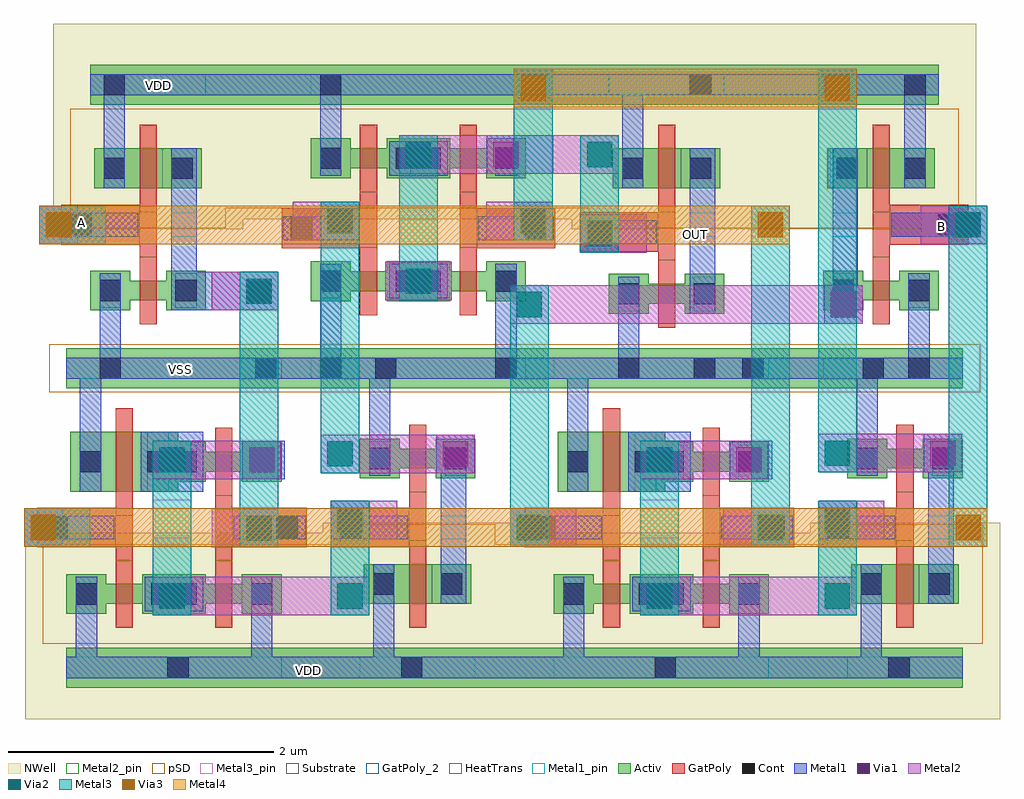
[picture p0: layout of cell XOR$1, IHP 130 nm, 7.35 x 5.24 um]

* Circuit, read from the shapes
.subckt XOR$1 A B OUT VDD VSS
XM1 n1 B VSS VSS sg13_lv_nmos w=0.45u l=0.13u
XM2 XOR_routed$1_0/XOR_placement$1_0/AND$2_3/VA A VSS VSS sg13_lv_nmos w=0.15u l=0.13u
XM3 XOR_routed$1_0/XOR_placement$1_0/AND$2_3/VOUT XOR_routed$1_0/XOR_placement$1_0/AND$2_3/VA n1 VSS sg13_lv_nmos w=0.15u l=0.13u
XM4 XOR_routed$1_0/XOR_placement$1_0/OR$2_0/VIN XOR_routed$1_0/XOR_placement$1_0/OR$2_0/VA VSS VSS sg13_lv_nmos w=0.15u l=0.13u
XM5 XOR_routed$1_0/XOR_placement$1_0/OR$2_0/VA XOR_routed$1_0/XOR_placement$1_0/AND$2_3/VOUT VSS VSS sg13_lv_nmos w=0.15u l=0.13u
XM6 VSS XOR_routed$1_0/XOR_placement$1_0/OR$2_0/VB XOR_routed$1_0/XOR_placement$1_0/OR$2_0/VIN VSS sg13_lv_nmos w=0.15u l=0.13u
XM7 n2 XOR_routed$1_0/XOR_placement$1_0/AND$2_4/VB VSS VSS sg13_lv_nmos w=0.45u l=0.13u
XM8 OUT XOR_routed$1_0/XOR_placement$1_0/OR$2_0/VIN VSS VSS sg13_lv_nmos w=0.15u l=0.13u
XM9 XOR_routed$1_0/XOR_placement$1_0/AND$2_4/VOUT A n2 VSS sg13_lv_nmos w=0.15u l=0.13u
XM10 VSS B XOR_routed$1_0/XOR_placement$1_0/AND$2_4/VB VSS sg13_lv_nmos w=0.15u l=0.13u
XM11 XOR_routed$1_0/XOR_placement$1_0/OR$2_0/VB XOR_routed$1_0/XOR_placement$1_0/AND$2_4/VOUT VSS VSS sg13_lv_nmos w=0.15u l=0.13u
XM12 XOR_routed$1_0/XOR_placement$1_0/AND$2_3/VOUT B VDD VDD sg13_lv_pmos w=0.15u l=0.13u
XM13 XOR_routed$1_0/XOR_placement$1_0/AND$2_3/VA A VDD VDD sg13_lv_pmos w=0.3u l=0.13u
XM14 VDD XOR_routed$1_0/XOR_placement$1_0/AND$2_3/VA XOR_routed$1_0/XOR_placement$1_0/AND$2_3/VOUT VDD sg13_lv_pmos w=0.15u l=0.13u
XM15 n3 XOR_routed$1_0/XOR_placement$1_0/OR$2_0/VA VDD VDD sg13_lv_pmos w=0.15u l=0.13u
XM16 XOR_routed$1_0/XOR_placement$1_0/OR$2_0/VA XOR_routed$1_0/XOR_placement$1_0/AND$2_3/VOUT VDD VDD sg13_lv_pmos w=0.3u l=0.13u
XM17 XOR_routed$1_0/XOR_placement$1_0/OR$2_0/VIN XOR_routed$1_0/XOR_placement$1_0/OR$2_0/VB n3 VDD sg13_lv_pmos w=0.15u l=0.13u
XM18 XOR_routed$1_0/XOR_placement$1_0/AND$2_4/VOUT XOR_routed$1_0/XOR_placement$1_0/AND$2_4/VB VDD VDD sg13_lv_pmos w=0.15u l=0.13u
XM19 OUT XOR_routed$1_0/XOR_placement$1_0/OR$2_0/VIN VDD VDD sg13_lv_pmos w=0.3u l=0.13u
XM20 VDD A XOR_routed$1_0/XOR_placement$1_0/AND$2_4/VOUT VDD sg13_lv_pmos w=0.15u l=0.13u
XM21 VDD B XOR_routed$1_0/XOR_placement$1_0/AND$2_4/VB VDD sg13_lv_pmos w=0.3u l=0.13u
XM22 XOR_routed$1_0/XOR_placement$1_0/OR$2_0/VB XOR_routed$1_0/XOR_placement$1_0/AND$2_4/VOUT VDD VDD sg13_lv_pmos w=0.3u l=0.13u
.ends

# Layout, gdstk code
from math import pi, radians
import gdstk
lib = gdstk.Library(unit=1e-6, precision=5e-09)
def R(c, l, rs):  # rectangles x0, y0, x1, y1
    for r in rs: c.add(gdstk.rectangle(r[:2], r[2:], *l))
Activ = (1, 0)
GatPoly = (5, 0)
GatPoly_2 = (5, 2)
Cont = (6, 0)
Metal1 = (8, 0)
Metal1_pin = (8, 2)
Metal2 = (10, 0)
Metal2_pin = (10, 2)
pSD = (14, 0)
Via1 = (19, 0)
Via2 = (29, 0)
Metal3 = (30, 0)
Metal3_pin = (30, 2)
NWell = (31, 0)
Substrate = (40, 0)
Via3 = (49, 0)
Metal4 = (50, 0)
HeatTrans = (51, 0)

via2_constraint_2_1 = lib.new_cell('Via2_constraint$2$1')
R(via2_constraint_2_1, Metal2, [(0,-0.055,0.29,0.235)])
R(via2_constraint_2_1, Via2, [(0.05,-0.005,0.24,0.185)])
R(via2_constraint_2_1, Metal3, [(0,-0.055,0.29,0.235)])

via1_constraint_2_5 = lib.new_cell('Via1_constraint$2$5')
R(via1_constraint_2_5, Metal1, [(0,-0.055,0.29,0.235)])
R(via1_constraint_2_5, Metal2, [(0,-0.055,0.29,0.235)])
R(via1_constraint_2_5, Via1, [(0.05,-0.005,0.24,0.185)])

via1_constraint_1_4 = lib.new_cell('Via1_constraint$1$4')
R(via1_constraint_1_4, Metal1, [(0,0,0.29,0.29)])
R(via1_constraint_1_4, Metal2, [(0,0,0.29,0.29)])
R(via1_constraint_1_4, Via1, [(0.05,0.05,0.24,0.24)])

via2_constraint_1_4 = lib.new_cell('Via2_constraint$1$4')
R(via2_constraint_1_4, Metal2, [(0,0,0.29,0.29)])
R(via2_constraint_1_4, Via2, [(0.05,0.05,0.24,0.24)])
R(via2_constraint_1_4, Metal3, [(0,0,0.29,0.29)])

nmos_9 = lib.new_cell('nmos$9')
R(nmos_9, Activ, [(0,0,0.3,0.3), (0.57,0,0.87,0.3), (0,0.075,0.87,0.225)])
R(nmos_9, GatPoly, [(0.37,-0.105,0.5,0.405)])
R(nmos_9, GatPoly_2, [(0.37,-0.105,0.5,0.405)])
R(nmos_9, Cont, [(0.07,0.07,0.23,0.23), (0.64,0.07,0.8,0.23)])
R(nmos_9, Metal1, [(0.07,0.02,0.23,0.28), (0.64,0.02,0.8,0.28)])
R(nmos_9, Metal1_pin, [(0.07,0.02,0.23,0.28), (0.64,0.02,0.8,0.28)])
R(nmos_9, HeatTrans, [(0.37,-0.105,0.5,0.405)])
nmos_9.add(gdstk.Label('nmos', (0.435,0.15), layer=63, texttype=0))
nmos_9.add(gdstk.Label('nmos', (0.435,0.15), layer=51, texttype=0))

pmos_25 = lib.new_cell('pmos$25')
R(pmos_25, Activ, [(0,0,0.3,0.3), (0.57,0,0.87,0.3), (0,0.075,0.87,0.225)])
R(pmos_25, GatPoly, [(0.37,-0.105,0.5,0.405), (0.37,-0.105,0.5,0.405)])
R(pmos_25, Cont, [(0.07,0.07,0.23,0.23), (0.64,0.07,0.8,0.23)])
R(pmos_25, Metal1, [(0.07,0.02,0.23,0.28), (0.07,0.02,0.23,0.28), (0.64,0.02,0.8,0.28), (0.64,0.02,0.8,0.28)])
R(pmos_25, pSD, [(-0.18,-0.225,1.05,0.525)])
R(pmos_25, NWell, [(-0.345,-0.31,1.18,0.61)])
R(pmos_25, Substrate, [(0.57,0,0.87,0.3)])
R(pmos_25, HeatTrans, [(0.37,-0.105,0.5,0.405)])
pmos_25.add(gdstk.Label('pmos', (0.435,0.15), layer=63, texttype=0))
pmos_25.add(gdstk.Label('pmos', (0.435,0.15), layer=51, texttype=0))

nor_2 = lib.new_cell('NOR$2')
R(nor_2, Activ, [(0.31,-0.065,1.93,0.235), (0.31,2.07,1.93,2.37)])
R(nor_2, GatPoly, [(0.09,0.99,0.68,1.29), (1.56,0.99,2.15,1.29), (0.68,0.995,0.81,1.41), (1.43,0.995,1.56,1.41)])
R(nor_2, GatPoly_2, [(0.09,0.99,0.68,1.29), (1.56,0.99,2.15,1.29)])
R(nor_2, Cont, [(0.38,0.005,0.54,0.165), (1.7,0.005,1.86,0.165), (0.95,0.66,1.29,0.82), (0.16,1.06,0.32,1.22), (1.92,1.06,2.08,1.22), (0.95,1.585,1.29,1.745), (1.7,2.14,1.86,2.3)])
R(nor_2, Metal1, [(0.31,0.005,1.93,0.165), (0.9,0.61,1.34,0.87), (0.1,1.05,0.67,1.23), (1.57,1.05,2.14,1.23), (0.9,1.535,1.34,1.795), (0.105,1.55,0.315,1.84), (0.31,2.14,1.93,2.3)])
R(nor_2, Metal1_pin, [(0.31,0.005,1.93,0.165), (0.1,1.05,0.67,1.23), (1.57,1.05,2.14,1.23), (0.31,2.14,1.93,2.3)])
R(nor_2, Metal2, [(0.87,0.595,1.37,0.885)])
R(nor_2, Metal2_pin, [(0.315,1.55,0.605,1.84)])
R(nor_2, pSD, [(0.18,-0.095,2.06,0.265)])
R(nor_2, NWell, [(-0.035,2.125,2.24,2.68)])
nor_2.add(gdstk.FlexPath([(0.46,0.61),(0.46,0.26),(0.46,0.165)], 0.16, ends="flush", simple_path=True, layer=8, datatype=0))  # Metal1
nor_2.add(gdstk.FlexPath([(1.78,0.61),(1.78,0.165)], 0.16, ends="flush", simple_path=True, layer=8, datatype=0))  # Metal1
nor_2.add(gdstk.FlexPath([(1.78,1.795),(1.78,2.14)], 0.16, ends="flush", simple_path=True, layer=8, datatype=0))  # Metal1
nor_2.add(gdstk.FlexPath([(0.605,1.695),(0.975,1.695)], 0.29, ends="flush", simple_path=True, layer=10, datatype=0))  # Metal2
nor_2.add(gdstk.FlexPath([(1.12,0.885),(1.12,1.55)], 0.29, ends="flush", simple_path=True, layer=30, datatype=0))  # Metal3
nor_2.add(gdstk.Reference(via1_constraint_1_4, (0.975,0.595)))
nor_2.add(gdstk.Reference(via2_constraint_1_4, (0.975,0.595)))
nor_2.add(gdstk.Reference(via2_constraint_1_4, (0.975,1.55)))
nor_2.add(gdstk.Reference(via1_constraint_1_4, (0.315,1.55)))
nor_2.add(gdstk.Reference(nmos_9, (1.06,0.59)))
nor_2.add(gdstk.Reference(nmos_9, (0.31,0.59)))
nor_2.add(gdstk.Reference(pmos_25, (1.06,1.515)))
nor_2.add(gdstk.Reference(pmos_25, (0.31,1.515)))
nor_2.add(gdstk.Label('VB', (0.205,1.14), layer=8, texttype=25))
nor_2.add(gdstk.Label('VA', (1.99,1.125), layer=8, texttype=25))
nor_2.add(gdstk.Label('VSS', (0.6,0.055), layer=8, texttype=25))
nor_2.add(gdstk.Label('VDD', (0.605,2.215), layer=8, texttype=25))
nor_2.add(gdstk.Label('VOUT', (0.38,1.605), layer=10, texttype=25))

nmos_1_13 = lib.new_cell('nmos$1$13')
R(nmos_1_13, Activ, [(0,-0.025,0.3,0.275), (0.57,-0.025,0.87,0.275), (0,0.05,0.87,0.2)])
R(nmos_1_13, GatPoly, [(0.37,-0.13,0.5,0.38)])
R(nmos_1_13, GatPoly_2, [(0.37,-0.13,0.5,0.38)])
R(nmos_1_13, Cont, [(0.07,0.045,0.23,0.205), (0.64,0.045,0.8,0.205)])
R(nmos_1_13, Metal1, [(0.07,-0.005,0.23,0.255), (0.64,-0.005,0.8,0.255)])
R(nmos_1_13, Metal1_pin, [(0.07,-0.005,0.23,0.255), (0.64,-0.005,0.8,0.255)])
R(nmos_1_13, HeatTrans, [(0.37,-0.13,0.5,0.38)])
nmos_1_13.add(gdstk.Label('nmos', (0.435,0.125), layer=63, texttype=0))
nmos_1_13.add(gdstk.Label('nmos', (0.435,0.125), layer=51, texttype=0))

pmos_1_18 = lib.new_cell('pmos$1$18')
R(pmos_1_18, Activ, [(0,0,0.81,0.3), (0,0,0.3,0.3), (0.51,0,0.81,0.3)])
R(pmos_1_18, GatPoly, [(0.34,-0.18,0.47,0.48), (0.34,-0.18,0.47,0.48)])
R(pmos_1_18, Cont, [(0.07,0.07,0.23,0.23), (0.58,0.07,0.74,0.23)])
R(pmos_1_18, Metal1, [(0.07,0,0.23,0.3), (0.07,0,0.23,0.3), (0.58,0,0.74,0.3), (0.58,0,0.74,0.3)])
R(pmos_1_18, pSD, [(-0.18,-0.3,0.99,0.6)])
R(pmos_1_18, NWell, [(-0.31,-0.31,1.12,0.61)])
R(pmos_1_18, Substrate, [(0.51,0,0.81,0.3)])
R(pmos_1_18, HeatTrans, [(0.34,-0.18,0.47,0.48)])
pmos_1_18.add(gdstk.Label('pmos', (0.405,0.15), layer=63, texttype=0))
pmos_1_18.add(gdstk.Label('pmos', (0.405,0.15), layer=51, texttype=0))

inv_d1_18 = lib.new_cell('INV_D1$18')
R(inv_d1_18, Activ, [(0.28,0,1.15,0.3), (0.28,2.135,1.15,2.435)])
R(inv_d1_18, GatPoly, [(0.06,1.025,0.65,1.325), (0.65,1.11,0.78,1.325)])
R(inv_d1_18, GatPoly_2, [(0.06,1.025,0.65,1.325)])
R(inv_d1_18, Cont, [(0.35,0.07,0.51,0.23), (0.92,0.07,1.08,0.23), (0.13,1.095,0.29,1.255), (0.89,2.205,1.05,2.365)])
R(inv_d1_18, Metal1, [(0.28,0.07,1.15,0.23), (0.07,1.085,0.64,1.265), (0.28,2.205,1.15,2.365)])
R(inv_d1_18, Metal1_pin, [(0.28,0.07,1.15,0.23), (0.07,1.085,0.64,1.265), (0.89,1.14,1.08,1.32), (0.28,2.205,1.15,2.365)])
R(inv_d1_18, pSD, [(0.15,-0.03,1.28,0.33)])
R(inv_d1_18, NWell, [(0,2.115,1.43,2.745)])
R(inv_d1_18, Substrate, [(0.82,1.505,1.12,1.805)])
inv_d1_18.add(gdstk.FlexPath([(0.46,1.805),(0.46,2.365)], 0.16, ends="flush", simple_path=True, layer=8, datatype=0))  # Metal1
inv_d1_18.add(gdstk.FlexPath([(0.43,0.84),(0.43,0.23)], 0.16, ends="flush", simple_path=True, layer=8, datatype=0))  # Metal1
inv_d1_18.add(gdstk.FlexPath([(0.985,0.56),(0.985,1.805)], 0.19, ends="flush", simple_path=True, layer=8, datatype=0))  # Metal1
inv_d1_18.add(gdstk.FlexPath([(0.715,1.11),(0.715,0.965)], 0.13, ends="flush", simple_path=True, layer=5, datatype=0))  # GatPoly
inv_d1_18.add(gdstk.Reference(nmos_1_13, (0.28,0.585)))
inv_d1_18.add(gdstk.Reference(pmos_1_18, (0.31,1.505)))
inv_d1_18.add(gdstk.Label('nmos', (0.715,0.63), layer=63, texttype=0))
inv_d1_18.add(gdstk.Label('VDD', (0.655,2.28), layer=8, texttype=25))
inv_d1_18.add(gdstk.Label('VOUT', (1.03,1.165), layer=8, texttype=25))
inv_d1_18.add(gdstk.Label('VSS', (0.65,0.145), layer=8, texttype=25))
inv_d1_18.add(gdstk.Label('VIN', (0.285,1.12), layer=8, texttype=25))

or_2 = lib.new_cell('OR$2')
R(or_2, Activ, [(1.93,0.03,2.555,0.33), (1.93,2.165,2.555,2.465)])
R(or_2, Metal1, [(1.93,0.1,2.555,0.26), (1.93,2.235,2.555,2.395)])
R(or_2, Metal2, [(2.63,1.05,2.84,1.34)])
R(or_2, pSD, [(2.06,0,2.425,0.36), (2.11,1.385,2.405,2.135)])
or_2.add(gdstk.FlexPath([(1.925,1.79),(2.34,1.79)], 0.29, ends="flush", simple_path=True, layer=10, datatype=0))  # Metal2
or_2.add(gdstk.FlexPath([(2.485,1.645),(2.485,1.34)], 0.29, ends="flush", simple_path=True, layer=30, datatype=0))  # Metal3
or_2.add(gdstk.Reference(via2_constraint_2_1, (2.34,1.7)))
or_2.add(gdstk.Reference(via1_constraint_2_5, (2.34,1.105)))
or_2.add(gdstk.Reference(via2_constraint_2_1, (2.34,1.105)))
or_2.add(gdstk.Reference(nor_2, (2.24,0.095), rotation=pi, x_reflection=True))
or_2.add(gdstk.Reference(inv_d1_18, (2.275,0.03)))
or_2.add(gdstk.Label('VDD', (2.86,2.305), layer=8, texttype=25))
or_2.add(gdstk.Label('VSS', (2.855,0.14), layer=8, texttype=25))
or_2.add(gdstk.Label('VOUT', (3.3,1.255), layer=8, texttype=25))
or_2.add(gdstk.Label('VIN', (2.675,1.17), layer=8, texttype=25))
or_2.add(gdstk.Label('VB', (1.82,1.205), layer=8, texttype=25))
or_2.add(gdstk.Label('VA', (0.36,1.21), layer=8, texttype=25))

nmos_4_3 = lib.new_cell('nmos$4$3')
R(nmos_4_3, Activ, [(0,0,0.3,0.3), (0.57,0,0.87,0.3), (0,0.075,0.87,0.225)])
R(nmos_4_3, GatPoly, [(0.37,-0.105,0.5,0.405)])
R(nmos_4_3, GatPoly_2, [(0.37,-0.105,0.5,0.405)])
R(nmos_4_3, Cont, [(0.07,0.07,0.23,0.23), (0.64,0.07,0.8,0.23)])
R(nmos_4_3, Metal1, [(0.07,0.02,0.23,0.28), (0.64,0.02,0.8,0.28)])
R(nmos_4_3, Metal1_pin, [(0.07,0.02,0.23,0.28), (0.64,0.02,0.8,0.28)])
R(nmos_4_3, HeatTrans, [(0.37,-0.105,0.5,0.405)])
nmos_4_3.add(gdstk.Label('nmos', (0.435,0.15), layer=63, texttype=0))
nmos_4_3.add(gdstk.Label('nmos', (0.435,0.15), layer=51, texttype=0))

pmos_1_2_1 = lib.new_cell('pmos$1$2$1')
R(pmos_1_2_1, Activ, [(0,0,0.81,0.3), (0,0,0.3,0.3), (0.51,0,0.81,0.3)])
R(pmos_1_2_1, GatPoly, [(0.34,-0.18,0.47,0.48), (0.34,-0.18,0.47,0.48)])
R(pmos_1_2_1, Cont, [(0.07,0.07,0.23,0.23), (0.58,0.07,0.74,0.23)])
R(pmos_1_2_1, Metal1, [(0.07,0,0.23,0.3), (0.07,0,0.23,0.3), (0.58,0,0.74,0.3), (0.58,0,0.74,0.3)])
R(pmos_1_2_1, pSD, [(-0.18,-0.3,0.99,0.6)])
R(pmos_1_2_1, NWell, [(-0.31,-0.31,1.12,0.61)])
R(pmos_1_2_1, Substrate, [(0.51,0,0.81,0.3)])
R(pmos_1_2_1, HeatTrans, [(0.34,-0.18,0.47,0.48)])
pmos_1_2_1.add(gdstk.Label('pmos', (0.405,0.15), layer=63, texttype=0))
pmos_1_2_1.add(gdstk.Label('pmos', (0.405,0.15), layer=51, texttype=0))

inv_d1_2_1 = lib.new_cell('INV_D1$2$1')
R(inv_d1_2_1, Activ, [(0.28,0,1.15,0.3), (0.28,2.135,1.15,2.435)])
R(inv_d1_2_1, GatPoly, [(0.06,1.08,0.65,1.38), (0.65,1.11,0.78,1.325)])
R(inv_d1_2_1, GatPoly_2, [(0.06,1.08,0.65,1.38)])
R(inv_d1_2_1, Cont, [(0.35,0.07,0.51,0.23), (0.13,1.15,0.29,1.31), (0.38,2.205,0.54,2.365)])
R(inv_d1_2_1, Metal1, [(0.28,0.07,1.15,0.23), (0.07,1.14,0.64,1.32), (0.28,2.205,1.15,2.365)])
R(inv_d1_2_1, Metal1_pin, [(0.28,0.07,1.15,0.23), (0.07,1.14,0.64,1.32), (0.89,1.14,1.08,1.32), (0.28,2.205,1.15,2.365)])
R(inv_d1_2_1, pSD, [(0.15,-0.03,1.28,0.33)])
R(inv_d1_2_1, NWell, [(0,2.115,1.43,2.745)])
R(inv_d1_2_1, Substrate, [(0.82,1.505,1.12,1.805)])
inv_d1_2_1.add(gdstk.FlexPath([(0.985,0.585),(0.985,1.805)], 0.19, ends="flush", simple_path=True, layer=8, datatype=0))  # Metal1
inv_d1_2_1.add(gdstk.FlexPath([(0.46,1.805),(0.46,2.365)], 0.16, ends="flush", simple_path=True, layer=8, datatype=0))  # Metal1
inv_d1_2_1.add(gdstk.FlexPath([(0.43,0.865),(0.43,0.07)], 0.16, ends="flush", simple_path=True, layer=8, datatype=0))  # Metal1
inv_d1_2_1.add(gdstk.FlexPath([(0.715,1.11),(0.715,0.99)], 0.13, ends="flush", simple_path=True, layer=5, datatype=0))  # GatPoly
inv_d1_2_1.add(gdstk.Reference(nmos_4_3, (0.28,0.585)))
inv_d1_2_1.add(gdstk.Reference(pmos_1_2_1, (0.31,1.505)))
inv_d1_2_1.add(gdstk.Label('nmos', (0.715,0.655), layer=63, texttype=0))
inv_d1_2_1.add(gdstk.Label('VDD', (0.655,2.28), layer=8, texttype=25))
inv_d1_2_1.add(gdstk.Label('VOUT', (1.03,1.165), layer=8, texttype=25))
inv_d1_2_1.add(gdstk.Label('VIN', (0.285,1.175), layer=8, texttype=25))
inv_d1_2_1.add(gdstk.Label('VSS', (0.65,0.145), layer=8, texttype=25))

nmos_2_9 = lib.new_cell('nmos$2$9')
R(nmos_2_9, Activ, [(0,0.01,0.3,0.31), (0.57,0.01,0.87,0.31), (0,0.085,0.87,0.235)])
R(nmos_2_9, GatPoly, [(0.37,-0.095,0.5,0.415)])
R(nmos_2_9, GatPoly_2, [(0.37,-0.095,0.5,0.415)])
R(nmos_2_9, Cont, [(0.07,0.08,0.23,0.24), (0.64,0.08,0.8,0.24)])
R(nmos_2_9, Metal1, [(0.07,0.03,0.23,0.29), (0.64,0.03,0.8,0.29)])
R(nmos_2_9, Metal1_pin, [(0.07,0.03,0.23,0.29), (0.64,0.03,0.8,0.29)])
R(nmos_2_9, HeatTrans, [(0.37,-0.095,0.5,0.415)])
nmos_2_9.add(gdstk.Label('nmos', (0.435,0.16), layer=63, texttype=0))
nmos_2_9.add(gdstk.Label('nmos', (0.435,0.16), layer=51, texttype=0))

pmos_2_13 = lib.new_cell('pmos$2$13')
R(pmos_2_13, Activ, [(0,0.01,0.3,0.31), (0.57,0.01,0.87,0.31), (0,0.085,0.87,0.235)])
R(pmos_2_13, GatPoly, [(0.37,-0.095,0.5,0.415), (0.37,-0.095,0.5,0.415)])
R(pmos_2_13, Cont, [(0.07,0.08,0.23,0.24), (0.64,0.08,0.8,0.24)])
R(pmos_2_13, Metal1, [(0.07,0.03,0.23,0.29), (0.07,0.03,0.23,0.29), (0.64,0.03,0.8,0.29), (0.64,0.03,0.8,0.29)])
R(pmos_2_13, pSD, [(-0.18,-0.215,1.05,0.535)])
R(pmos_2_13, NWell, [(-0.31,-0.3,1.18,0.61)])
R(pmos_2_13, Substrate, [(0.57,0.01,0.87,0.31)])
R(pmos_2_13, HeatTrans, [(0.37,-0.095,0.5,0.415)])
pmos_2_13.add(gdstk.Label('pmos', (0.435,0.16), layer=63, texttype=0))
pmos_2_13.add(gdstk.Label('pmos', (0.435,0.16), layer=51, texttype=0))

via1_constraint_1_1_1 = lib.new_cell('Via1_constraint$1$1$1')
R(via1_constraint_1_1_1, Metal1, [(-0.005,0.015,0.285,0.305)])
R(via1_constraint_1_1_1, Metal2, [(-0.005,0.015,0.285,0.305)])
R(via1_constraint_1_1_1, Via1, [(0.045,0.065,0.235,0.255)])

nmos_1_1_3 = lib.new_cell('nmos$1$1$3')
R(nmos_1_1_3, Activ, [(0,0.01,0.81,0.46), (0,0.01,0.3,0.31), (0.51,0.01,0.81,0.31)])
R(nmos_1_1_3, GatPoly, [(0.34,-0.17,0.47,0.64)])
R(nmos_1_1_3, GatPoly_2, [(0.34,-0.17,0.47,0.64)])
R(nmos_1_1_3, Cont, [(0.07,0.155,0.23,0.315), (0.58,0.155,0.74,0.315)])
R(nmos_1_1_3, Metal1, [(0.07,0.01,0.23,0.46), (0.58,0.01,0.74,0.46)])
R(nmos_1_1_3, Metal1_pin, [(0.07,0.01,0.23,0.46), (0.58,0.01,0.74,0.46)])
R(nmos_1_1_3, HeatTrans, [(0.34,-0.17,0.47,0.64)])
nmos_1_1_3.add(gdstk.Label('nmos', (0.405,0.235), layer=63, texttype=0))
nmos_1_1_3.add(gdstk.Label('nmos', (0.405,0.235), layer=51, texttype=0))

via2_constraint_1_1_1 = lib.new_cell('Via2_constraint$1$1$1')
R(via2_constraint_1_1_1, Metal2, [(0,0.01,0.29,0.3)])
R(via2_constraint_1_1_1, Via2, [(0.05,0.06,0.24,0.25)])
R(via2_constraint_1_1_1, Metal3, [(0,0.01,0.29,0.3)])

nand_2 = lib.new_cell('NAND$2')
R(nand_2, Activ, [(0.31,0.04,1.93,0.34), (0.31,2.295,1.93,2.595)])
R(nand_2, GatPoly, [(0.09,1.24,0.68,1.54), (1.56,1.24,2.12,1.54)])
R(nand_2, GatPoly_2, [(0.09,1.24,0.68,1.54), (1.56,1.24,2.12,1.54)])
R(nand_2, Cont, [(1.73,0.11,1.89,0.27), (0.92,0.815,1.29,0.975), (0.16,1.31,0.32,1.47), (1.89,1.31,2.05,1.47), (0.95,1.81,1.29,1.97), (1.07,2.365,1.23,2.525)])
R(nand_2, Metal1, [(0.31,0.11,1.93,0.27), (0.87,0.67,1.34,1.12), (1.925,0.735,1.955,1.025), (0.1,1.3,0.67,1.48), (1.57,1.3,2.11,1.48), (0.9,1.76,1.34,2.02), (0.31,2.365,1.93,2.525)])
R(nand_2, Metal1_pin, [(0.31,0.11,1.93,0.27), (0.1,1.3,0.67,1.48), (1.57,1.3,2.11,1.48), (0.31,2.365,1.93,2.525)])
R(nand_2, pSD, [(0.18,0.01,2.06,0.37)])
R(nand_2, Metal3_pin, [(0.96,1.18,1.25,1.47)])
R(nand_2, NWell, [(0,2.34,2.24,2.835)])
nand_2.add(gdstk.FlexPath([(1.78,2.02),(1.78,2.365)], 0.16, ends="flush", simple_path=True, layer=8, datatype=0))  # Metal1
nand_2.add(gdstk.FlexPath([(0.46,2.02),(0.46,2.365)], 0.16, ends="flush", simple_path=True, layer=8, datatype=0))  # Metal1
nand_2.add(gdstk.FlexPath([(0.49,0.67),(0.49,0.27)], 0.16, ends="flush", simple_path=True, layer=8, datatype=0))  # Metal1
nand_2.add(gdstk.FlexPath([(0.745,1.635),(0.745,1.3)], 0.13, ends="flush", simple_path=True, layer=5, datatype=0))  # GatPoly
nand_2.add(gdstk.FlexPath([(1.495,1.635),(1.495,1.15)], 0.13, ends="flush", simple_path=True, layer=5, datatype=0))  # GatPoly
nand_2.add(gdstk.FlexPath([(1.635,0.88),(1.25,0.88)], 0.29, ends="flush", simple_path=True, layer=10, datatype=0))  # Metal2
nand_2.add(gdstk.FlexPath([(1.105,1.025),(1.105,1.76)], 0.29, ends="flush", simple_path=True, layer=30, datatype=0))  # Metal3
nand_2.add(gdstk.Reference(nmos_2_9, (1.06,0.735)))
nand_2.add(gdstk.Reference(pmos_2_13, (0.31,1.73)))
nand_2.add(gdstk.Reference(pmos_2_13, (1.06,1.73)))
nand_2.add(gdstk.Reference(via1_constraint_1_1_1, (0.965,1.745)))
nand_2.add(gdstk.Reference(via1_constraint_1_1_1, (1.64,0.72)))
nand_2.add(gdstk.Reference(nmos_1_1_3, (0.34,0.66)))
nand_2.add(gdstk.Reference(via2_constraint_1_1_1, (0.96,0.725)))
nand_2.add(gdstk.Reference(via2_constraint_1_1_1, (0.96,1.75)))
nand_2.add(gdstk.Label('VDD', (0.4,2.44), layer=8, texttype=25))
nand_2.add(gdstk.Label('VA', (1.95,1.365), layer=8, texttype=25))
nand_2.add(gdstk.Label('VB', (0.265,1.37), layer=8, texttype=25))
nand_2.add(gdstk.Label('VSS', (1.78,0.195), layer=8, texttype=25))

nmos_3_14 = lib.new_cell('nmos$3$14')
R(nmos_3_14, Activ, [(0,-0.025,0.3,0.275), (0.57,-0.025,0.87,0.275), (0,0.05,0.87,0.2)])
R(nmos_3_14, GatPoly, [(0.37,-0.13,0.5,0.38)])
R(nmos_3_14, GatPoly_2, [(0.37,-0.13,0.5,0.38)])
R(nmos_3_14, Cont, [(0.07,0.045,0.23,0.205), (0.64,0.045,0.8,0.205)])
R(nmos_3_14, Metal1, [(0.07,-0.005,0.23,0.255), (0.64,-0.005,0.8,0.255)])
R(nmos_3_14, Metal1_pin, [(0.07,-0.005,0.23,0.255), (0.64,-0.005,0.8,0.255)])
R(nmos_3_14, HeatTrans, [(0.37,-0.13,0.5,0.38)])
nmos_3_14.add(gdstk.Label('nmos', (0.435,0.125), layer=63, texttype=0))
nmos_3_14.add(gdstk.Label('nmos', (0.435,0.125), layer=51, texttype=0))

pmos_1_1_1 = lib.new_cell('pmos$1$1$1')
R(pmos_1_1_1, Activ, [(0,0,0.81,0.3), (0,0,0.3,0.3), (0.51,0,0.81,0.3)])
R(pmos_1_1_1, GatPoly, [(0.34,-0.18,0.47,0.48), (0.34,-0.18,0.47,0.48)])
R(pmos_1_1_1, Cont, [(0.07,0.07,0.23,0.23), (0.58,0.07,0.74,0.23)])
R(pmos_1_1_1, Metal1, [(0.07,0,0.23,0.3), (0.07,0,0.23,0.3), (0.58,0,0.74,0.3), (0.58,0,0.74,0.3)])
R(pmos_1_1_1, pSD, [(-0.18,-0.3,0.99,0.6)])
R(pmos_1_1_1, NWell, [(-0.31,-0.31,1.12,0.61)])
R(pmos_1_1_1, Substrate, [(0.51,0,0.81,0.3)])
R(pmos_1_1_1, HeatTrans, [(0.34,-0.18,0.47,0.48)])
pmos_1_1_1.add(gdstk.Label('pmos', (0.405,0.15), layer=63, texttype=0))
pmos_1_1_1.add(gdstk.Label('pmos', (0.405,0.15), layer=51, texttype=0))

inv_d1_1_1 = lib.new_cell('INV_D1$1$1')
R(inv_d1_1_1, Activ, [(-0.445,-1.44,0.425,-1.14), (-0.445,0.815,0.425,1.115)])
R(inv_d1_1_1, GatPoly, [(-0.665,-0.24,-0.075,0.06), (-0.075,-0.21,0.055,0.005)])
R(inv_d1_1_1, GatPoly_2, [(-0.665,-0.24,-0.075,0.06)])
R(inv_d1_1_1, Cont, [(-0.33,-1.37,-0.17,-1.21), (-0.595,-0.17,-0.435,-0.01), (-0.135,0.885,0.025,1.045)])
R(inv_d1_1_1, Metal1, [(-0.445,-1.37,0.425,-1.21), (-0.655,-0.18,-0.085,0), (-0.445,0.885,0.425,1.045)])
R(inv_d1_1_1, Metal1_pin, [(-0.445,-1.37,0.425,-1.21), (-0.655,-0.18,-0.085,0), (0.165,-0.18,0.355,0), (-0.445,0.885,0.425,1.045)])
R(inv_d1_1_1, pSD, [(-0.575,-1.47,0.555,-1.11)])
R(inv_d1_1_1, NWell, [(-0.725,0.795,0.705,1.355)])
R(inv_d1_1_1, Substrate, [(0.095,0.185,0.395,0.485)])
inv_d1_1_1.add(gdstk.FlexPath([(-0.265,0.485),(-0.265,1.045)], 0.16, ends="flush", simple_path=True, layer=8, datatype=0))  # Metal1
inv_d1_1_1.add(gdstk.FlexPath([(0.26,-0.76),(0.26,0.485)], 0.19, ends="flush", simple_path=True, layer=8, datatype=0))  # Metal1
inv_d1_1_1.add(gdstk.FlexPath([(-0.295,-0.48),(-0.295,-1.37)], 0.16, ends="flush", simple_path=True, layer=8, datatype=0))  # Metal1
inv_d1_1_1.add(gdstk.FlexPath([(-0.01,-0.21),(-0.01,-0.355)], 0.13, ends="flush", simple_path=True, layer=5, datatype=0))  # GatPoly
inv_d1_1_1.add(gdstk.Reference(nmos_3_14, (-0.445,-0.735)))
inv_d1_1_1.add(gdstk.Reference(pmos_1_1_1, (-0.415,0.185)))
inv_d1_1_1.add(gdstk.Label('nmos', (-0.01,-0.69), layer=63, texttype=0))
inv_d1_1_1.add(gdstk.Label('VDD', (-0.07,0.96), layer=8, texttype=25))
inv_d1_1_1.add(gdstk.Label('VSS', (-0.25,-1.285), layer=8, texttype=25))
inv_d1_1_1.add(gdstk.Label('VOUT', (0.295,-0.155), layer=8, texttype=25))
inv_d1_1_1.add(gdstk.Label('VIN', (-0.475,-0.14), layer=8, texttype=25))

via2_constraint_3_1 = lib.new_cell('Via2_constraint$3$1')
R(via2_constraint_3_1, Metal2, [(0,0,0.29,0.29)])
R(via2_constraint_3_1, Via2, [(0.05,0.05,0.24,0.24)])
R(via2_constraint_3_1, Metal3, [(0,0,0.29,0.29)])

via1_constraint_3_1 = lib.new_cell('Via1_constraint$3$1')
R(via1_constraint_3_1, Metal1, [(0,0,0.29,0.29)])
R(via1_constraint_3_1, Metal2, [(0,0,0.29,0.29)])
R(via1_constraint_3_1, Via1, [(0.05,0.05,0.24,0.24)])

and_2 = lib.new_cell('AND$2')
R(and_2, Activ, [(1.93,0.03,2.52,0.33), (1.93,2.285,2.52,2.585)])
R(and_2, Cont, [(2.37,1.3,2.53,1.46)])
R(and_2, Metal1, [(0.31,0.1,3.39,0.26), (1.93,0.1,2.52,0.26), (2.62,1.885,2.78,2.515), (0.31,2.355,3.39,2.515), (1.93,2.355,2.52,2.515)])
R(and_2, Metal2, [(2.59,1.18,2.8,1.47)])
R(and_2, Metal2_pin, [(2.59,1.18,2.8,1.47)])
R(and_2, pSD, [(2.06,0,2.39,0.36), (2.11,1.505,2.37,2.255)])
and_2.add(gdstk.FlexPath([(2.3,1.895),(1.25,1.895)], 0.29, ends="flush", simple_path=True, layer=10, datatype=0))  # Metal2
and_2.add(gdstk.FlexPath([(2.445,1.75),(2.445,1.47)], 0.29, ends="flush", simple_path=True, layer=30, datatype=0))  # Metal3
and_2.add(gdstk.Reference(nand_2, (0,-0.01)))
and_2.add(gdstk.Reference(inv_d1_1_1, (2.965,1.47)))
and_2.add(gdstk.Reference(via2_constraint_3_1, (2.3,1.75)))
and_2.add(gdstk.Reference(via2_constraint_3_1, (2.3,1.18)))
and_2.add(gdstk.Reference(via1_constraint_3_1, (2.3,1.18)))
and_2.add(gdstk.Label('VDD', (3.165,2.445), layer=8, texttype=2))
and_2.add(gdstk.Label('VDD', (0.865,2.41), layer=8, texttype=2))
and_2.add(gdstk.Label('VB', (0.46,1.375), layer=8, texttype=2))
and_2.add(gdstk.Label('VA', (1.85,1.37), layer=8, texttype=2))
and_2.add(gdstk.Label('VOUT', (3.215,1.37), layer=8, texttype=2))
and_2.add(gdstk.Label('VSS', (1.76,0.14), layer=8, texttype=2))
and_2.add(gdstk.Label('VSS', (2.71,0.155), layer=8, texttype=2))
and_2.add(gdstk.Label('VDD', (0.57,2.42), layer=8, texttype=25))
and_2.add(gdstk.Label('VA', (2.015,1.36), layer=8, texttype=25))
and_2.add(gdstk.Label('VB', (0.265,1.355), layer=8, texttype=25))
and_2.add(gdstk.Label('VOUT', (3.26,1.31), layer=8, texttype=25))
and_2.add(gdstk.Label('VSS', (1.77,0.17), layer=8, texttype=25))
and_2.add(gdstk.Label('VSS', (2.81,0.195), layer=8, texttype=25))
and_2.add(gdstk.Label('VDD', (3.25,2.425), layer=8, texttype=25))
and_2.add(gdstk.Label('VOUT', (1.155,1.35), layer=30, texttype=2))

xor_placement_1 = lib.new_cell('XOR_placement$1')
xor_placement_1.add(gdstk.Reference(or_2, (1.84,2.465)))
xor_placement_1.add(gdstk.Reference(inv_d1_2_1, (0.21,2.495)))
xor_placement_1.add(gdstk.Reference(inv_d1_2_1, (7.16,2.495), rotation=pi, x_reflection=True))
xor_placement_1.add(gdstk.Reference(and_2, (0,2.825), x_reflection=True))
xor_placement_1.add(gdstk.Reference(and_2, (3.67,2.825), x_reflection=True))

via1_constraint_15 = lib.new_cell('Via1_constraint$15')
R(via1_constraint_15, Metal1, [(0,0,0.29,0.29)])
R(via1_constraint_15, Metal2, [(0,0,0.29,0.29)])
R(via1_constraint_15, Via1, [(0.05,0.05,0.24,0.24)])

via2_constraint_9 = lib.new_cell('Via2_constraint$9')
R(via2_constraint_9, Metal2, [(0,0,0.29,0.29)])
R(via2_constraint_9, Via2, [(0.05,0.05,0.24,0.24)])
R(via2_constraint_9, Metal3, [(0,0,0.29,0.29)])

via3_constraint_5 = lib.new_cell('Via3_constraint$5')
R(via3_constraint_5, Metal3, [(0,0,0.29,0.29)])
R(via3_constraint_5, Via3, [(0.05,0.05,0.24,0.24)])
R(via3_constraint_5, Metal4, [(0,0,0.29,0.29)])

xor_routed_1 = lib.new_cell('XOR_routed$1')
R(xor_routed_1, Activ, [(3.4,0.24,3.99,0.54), (1.37,4.63,2.16,4.93), (5.275,4.63,6.02,4.93)])
R(xor_routed_1, Cont, [(0.17,1.365,0.33,1.525), (1.9,1.365,2.06,1.525), (3.84,1.365,4,1.525), (5.57,1.365,5.73,1.525)])
R(xor_routed_1, Metal1, [(0.32,0.31,7.07,0.47), (3.4,0.31,3.99,0.47), (0.32,2.565,7.07,2.725), (0.29,3.635,0.86,3.815), (5.015,3.635,5.205,3.815), (6.53,3.635,7.1,3.815), (0.5,4.7,6.89,4.86), (1.37,4.7,2.16,4.86), (5.275,4.7,6.02,4.86)])
R(xor_routed_1, Metal1_pin, [(0.29,3.635,0.86,3.815), (5.015,3.635,5.205,3.815), (6.53,3.635,7.1,3.815)])
R(xor_routed_1, Metal2, [(1.415,1.295,1.625,1.585), (0.29,1.3,0.5,1.59), (3.95,1.3,4.16,1.59), (5.265,1.3,5.475,1.59), (1.415,3.08,1.625,3.37), (0.405,3.58,0.615,3.87), (6.755,3.58,6.965,3.87), (2.025,3.61,2.235,3.9), (3.48,3.61,3.69,3.9)])
R(xor_routed_1, pSD, [(3.55,0.57,3.81,1.32), (5.425,3.7,5.87,4.6), (1.52,3.85,1.98,4.6)])
R(xor_routed_1, Metal3, [(0.29,1.3,0.5,1.59), (0.405,3.58,0.615,3.87)])
R(xor_routed_1, NWell, [(5.555,3.69,5.74,5.24), (1.65,3.765,1.85,5.24)])
xor_routed_1.add(gdstk.FlexPath([(1.625,3.225),(1.3,3.225)], 0.29, ends="flush", simple_path=True, layer=8, datatype=0))  # Metal1
xor_routed_1.add(gdstk.FlexPath([(6.27,2.005),(6.775,2.005)], 0.29, ends="flush", simple_path=True, layer=10, datatype=0))  # Metal2
xor_routed_1.add(gdstk.FlexPath([(2.525,2),(3.105,2)], 0.29, ends="flush", simple_path=True, layer=10, datatype=0))  # Metal2
xor_routed_1.add(gdstk.FlexPath([(6.025,3.125),(3.95,3.125)], 0.29, ends="flush", simple_path=True, layer=10, datatype=0))  # Metal2
xor_routed_1.add(gdstk.FlexPath([(2.38,3.61),(2.38,2.145)], 0.29, ends="flush", simple_path=True, layer=30, datatype=0))  # Metal3
xor_routed_1.add(gdstk.FlexPath([(3.805,2.98),(3.805,1.59)], 0.29, ends="flush", simple_path=True, layer=30, datatype=0))  # Metal3
xor_routed_1.add(gdstk.FlexPath([(7.11,3.58),(7.11,1.59)], 0.29, ends="flush", simple_path=True, layer=30, datatype=0))  # Metal3
xor_routed_1.add(gdstk.FlexPath([(5.62,3.58),(5.62,1.59)], 0.29, ends="flush", simple_path=True, layer=30, datatype=0))  # Metal3
xor_routed_1.add(gdstk.FlexPath([(1.77,3.08),(1.77,1.585)], 0.29, ends="flush", simple_path=True, layer=30, datatype=0))  # Metal3
xor_routed_1.add(gdstk.FlexPath([(6.125,2.15),(6.125,4.61)], 0.29, ends="flush", simple_path=True, layer=30, datatype=0))  # Metal3
xor_routed_1.add(gdstk.FlexPath([(3.835,3.9),(3.835,4.61)], 0.29, ends="flush", simple_path=True, layer=30, datatype=0))  # Metal3
xor_routed_1.add(gdstk.FlexPath([(0.29,1.445),(6.965,1.445)], 0.29, ends="flush", simple_path=True, layer=50, datatype=0))  # Metal4
xor_routed_1.add(gdstk.FlexPath([(0.405,3.725),(5.475,3.725)], 0.29, ends="flush", simple_path=True, layer=50, datatype=0))  # Metal4
xor_routed_1.add(gdstk.FlexPath([(3.98,4.755),(5.98,4.755)], 0.29, ends="flush", simple_path=True, layer=50, datatype=0))  # Metal4
xor_routed_1.add(gdstk.Reference(xor_placement_1, (0.01,0)))
xor_routed_1.add(gdstk.Reference(via1_constraint_15, (1.625,3.08)))
xor_routed_1.add(gdstk.Reference(via2_constraint_9, (1.625,3.08)))
xor_routed_1.add(gdstk.Reference(via2_constraint_9, (1.625,1.295)))
xor_routed_1.add(gdstk.Reference(via1_constraint_15, (1.625,1.295)))
xor_routed_1.add(gdstk.Reference(via1_constraint_15, (0.115,3.58)))
xor_routed_1.add(gdstk.Reference(via2_constraint_9, (0.115,3.58)))
xor_routed_1.add(gdstk.Reference(via3_constraint_5, (0.115,3.58)))
xor_routed_1.add(gdstk.Reference(via3_constraint_5, (5.475,3.58)))
xor_routed_1.add(gdstk.Reference(via2_constraint_9, (5.475,1.3)))
xor_routed_1.add(gdstk.Reference(via1_constraint_15, (5.475,1.3)))
xor_routed_1.add(gdstk.Reference(via1_constraint_15, (6.965,3.58)))
xor_routed_1.add(gdstk.Reference(via2_constraint_9, (6.965,3.58)))
xor_routed_1.add(gdstk.Reference(via3_constraint_5, (6.965,1.3)))
xor_routed_1.add(gdstk.Reference(via3_constraint_5, (0,1.3)))
xor_routed_1.add(gdstk.Reference(via2_constraint_9, (0,1.3)))
xor_routed_1.add(gdstk.Reference(via1_constraint_15, (0,1.3)))
xor_routed_1.add(gdstk.Reference(via1_constraint_15, (6.025,2.98)))
xor_routed_1.add(gdstk.Reference(via2_constraint_9, (3.66,2.98)))
xor_routed_1.add(gdstk.Reference(via2_constraint_9, (3.66,1.3)))
xor_routed_1.add(gdstk.Reference(via1_constraint_15, (3.66,1.3)))
xor_routed_1.add(gdstk.Reference(via1_constraint_15, (2.235,3.61)))
xor_routed_1.add(gdstk.Reference(via2_constraint_9, (2.235,3.61)))
xor_routed_1.add(gdstk.Reference(via2_constraint_9, (2.235,1.855)))
xor_routed_1.add(gdstk.Reference(via1_constraint_15, (3.105,1.855)))
xor_routed_1.add(gdstk.Reference(via1_constraint_15, (6.775,1.86)))
xor_routed_1.add(gdstk.Reference(via2_constraint_9, (5.98,1.86)))
xor_routed_1.add(gdstk.Reference(via3_constraint_5, (5.98,4.61)))
xor_routed_1.add(gdstk.Reference(via3_constraint_5, (3.69,4.61)))
xor_routed_1.add(gdstk.Reference(via2_constraint_9, (3.69,3.61)))
xor_routed_1.add(gdstk.Reference(via1_constraint_15, (3.69,3.61)))
xor_routed_1.add(gdstk.Label('VSS', (1.3,2.645), layer=8, texttype=25))
xor_routed_1.add(gdstk.Label('OUT', (5.06,3.66), layer=8, texttype=25))
xor_routed_1.add(gdstk.Label('VDD', (1.405,0.375), layer=8, texttype=25))
xor_routed_1.add(gdstk.Label('VDD', (1.465,4.77), layer=8, texttype=25))
xor_routed_1.add(gdstk.Label('A', (0.475,3.735), layer=8, texttype=25))
xor_routed_1.add(gdstk.Label('B', (6.9,3.705), layer=8, texttype=25))

xor_1 = lib.new_cell('XOR$1')
R(xor_1, Cont, [(2.38,1.365,2.54,1.525), (1.71,1.86,1.87,2.02)])
R(xor_1, Metal1, [(0.32,0.31,7.07,0.47), (2.32,1.355,2.89,1.535), (5.99,1.355,6.56,1.535), (0.32,2.565,7.07,2.725), (0.29,3.635,0.86,3.815), (5.015,3.635,5.205,3.815), (6.53,3.635,7.1,3.815), (0.5,4.7,6.89,4.86)])
R(xor_1, Metal1_pin, [(0.29,3.635,0.86,3.815), (5.015,3.635,5.205,3.815), (6.53,3.635,7.1,3.815)])
xor_1.add(gdstk.Reference(xor_routed_1, (0,0)))
xor_1.add(gdstk.Label('B', (6.91,3.715), layer=8, texttype=25))
xor_1.add(gdstk.Label('A', (0.435,3.74), layer=8, texttype=25))
xor_1.add(gdstk.Label('VDD', (2.145,0.37), layer=8, texttype=25))
xor_1.add(gdstk.Label('VSS', (1.175,2.635), layer=8, texttype=25))
xor_1.add(gdstk.Label('VDD', (1.01,4.775), layer=8, texttype=25))
xor_1.add(gdstk.Label('OUT', (5.06,3.65), layer=8, texttype=25))

lib.write_gds('XOR_1.gds')
